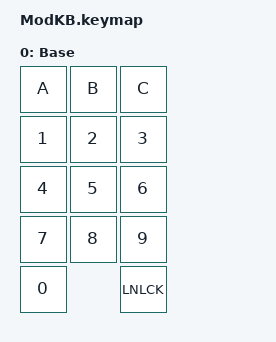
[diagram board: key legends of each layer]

#include <behaviors.dtsi>
#include <dt-bindings/zmk/keys.h>


/ {
    keymap {
        compatible = "zmk,keymap";
    
        default_layer {
			display-name = "Base";
        // -----------------------------------------------------------------------------------------
        // |  A  |  B  |  C  |
        // |  1  |  2  |  3  |
        // |  4  |  5  |  6  |
        // |  7  |  8  |  9  |
        // |  0  |     | ENT |
            bindings = <
                &kp A    &kp B    &kp C
                &kp N1   &kp N2   &kp N3 
                &kp N4   &kp N5   &kp N6 
                &kp N7   &kp N8   &kp N9  
                &kp N0            &kp LNLCK
            >;
        };  
	};
};
